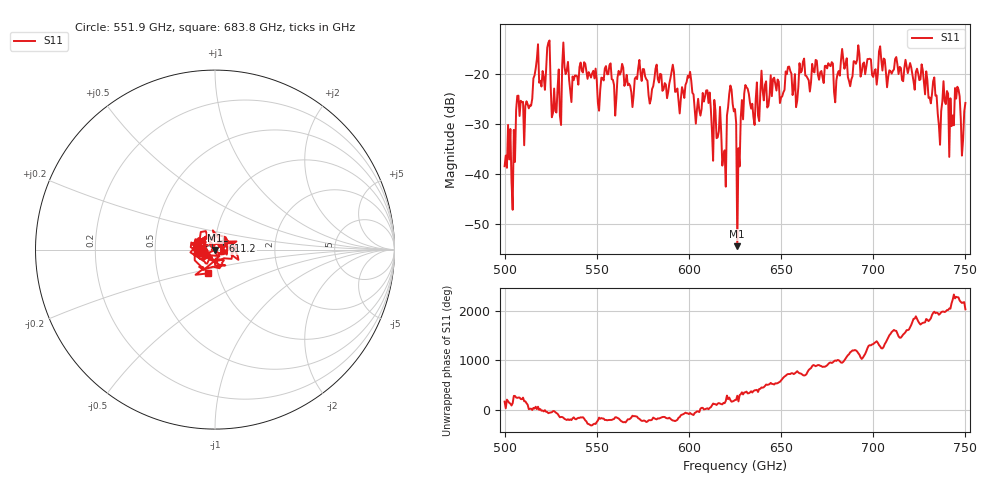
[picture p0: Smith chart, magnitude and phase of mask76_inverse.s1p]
!Created with skrf (http://scikit-rf.org).
# GHz S MA R 50.0
!freq magS11 angS11
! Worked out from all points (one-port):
!   401 points, 500 GHz to 750 GHz, reference 50 ohm
!   lowest |S11| = -54.3 dB at 626.2 GHz (marker M1), VSWR 1.00, Z = 50.1 - j0.181 ohm
!   |S11| at or under -10 dB: start of sweep to end of sweep
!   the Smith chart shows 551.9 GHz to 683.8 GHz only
!   S11 on the Smith chart (normalised r, x): 551.9 GHz: 0.87, -0.02; 611.2 GHz: 1.09, +0.10; 683.8 GHz: 0.89, -0.24
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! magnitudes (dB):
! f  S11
! 500 GHz  -38.4
! 504.4 GHz  -47.1
! 507.5 GHz  -24.3
! 511.9 GHz  -25.5
! 516.9 GHz  -18.9
! 523.8 GHz  -13.8
! 526.9 GHz  -22.9
! 531.2 GHz  -18.2
! 551.9 GHz  -23.2
! 562.5 GHz  -20.2
! 593.8 GHz  -22.9
! 600 GHz  -20.8
! 611.2 GHz  -23.7
! 618.8 GHz  -36.3
! 623.1 GHz  -23.1
! 625 GHz  -27.0
! 626.2 GHz  -54.3
! 631.2 GHz  -22.7
! 634.4 GHz  -25.9
! 656.2 GHz  -24.2
! 683.8 GHz  -17.1
! 687.5 GHz  -22.5
! 718.8 GHz  -19.8
! 736.2 GHz  -34.1
! 739.4 GHz  -26.0
! 742.5 GHz  -30.4
! 745.6 GHz  -22.6
! 750 GHz  -25.8
